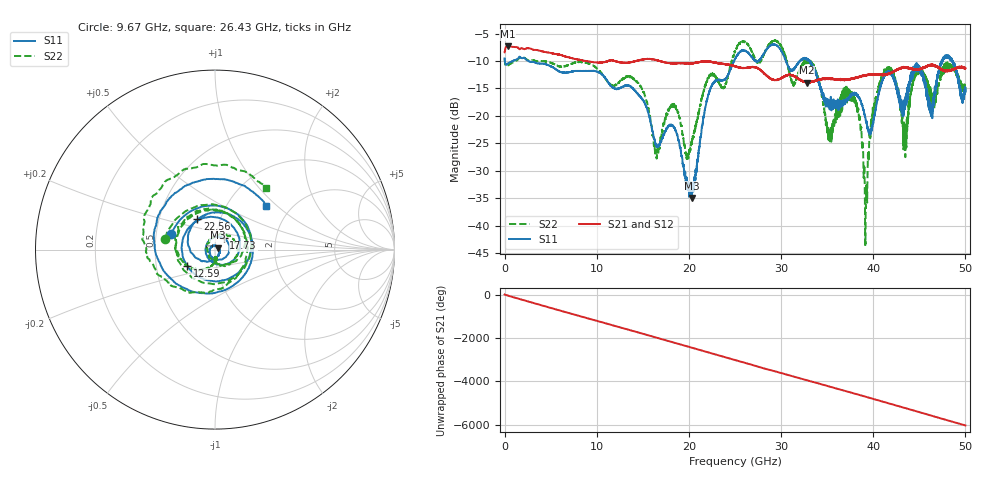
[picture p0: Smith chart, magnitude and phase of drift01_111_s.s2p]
!Created with skrf (http://scikit-rf.org).
# Hz S RI R 50.0
!freq ReS11 ImS11 ReS21 ImS21 ReS12 ImS12 ReS22 ImS22
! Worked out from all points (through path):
!   10001 points, 300 kHz to 50 GHz, reference 50 ohm
!   highest |S21| = -7.33 dB at 325.3 MHz (marker M1); lowest = -14.0 dB at 32.77 GHz (marker M2)
!   group delay of S21, straight-line fit = 335 ps
!   lowest |S11| = -34.9 dB at 20.33 GHz (marker M3), VSWR 1.04, Z = 51.5 + j1.06 ohm
!   |S11| at or under -10 dB: 2.553 GHz to 24.9 GHz (22.35 GHz wide, 163 % of centre); 30.53 GHz to 32.01 GHz (1.484 GHz wide, 4.74 % of centre); 33.07 GHz to 47.44 GHz (14.37 GHz wide, 35.7 % of centre) (the widest 3 of 22)
!   |S22| runs from -43.7 to -6.3 dB; largest |S21 - S12| = 0.011
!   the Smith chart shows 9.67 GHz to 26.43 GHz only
!   S11 on the Smith chart (normalised r, x): 9.67 GHz: 0.60, +0.11; 12.59 GHz: 0.72, -0.14; 17.73 GHz: 1.09, +0.14; 22.56 GHz: 0.78, +0.27; 26.43 GHz: 1.52, +0.85
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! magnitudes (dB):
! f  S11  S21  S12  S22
! 300 kHz  -9.5  -8.4  -8.5  -9.5
! 325.3 MHz  -10.5  -7.3  -7.3  -10.9
! 8.335 GHz  -11.8  -9.9  -9.9  -10.2
! 9.67 GHz  -11.8  -10.2  -10.2  -11.0
! 12.59 GHz  -14.9  -10.3  -10.3  -13.7
! 16.67 GHz  -25.7  -9.9  -9.9  -27.1
! 17.73 GHz  -21.9  -10.4  -10.4  -18.9
! 20.33 GHz  -34.9  -10.4  -10.4  -24.6
! 22.56 GHz  -14.2  -10.2  -10.2  -12.4
! 25 GHz  -9.6  -11.0  -11.0  -8.3
! 26.43 GHz  -8.5  -11.2  -11.2  -7.0
! 32.77 GHz  -9.7  -14.0  -13.8  -10.0
! 33.34 GHz  -10.7  -13.8  -13.8  -10.5
! 35.25 GHz  -17.3  -13.2  -13.3  -23.2
! 37.97 GHz  -15.8  -13.0  -13.0  -17.2
! 39.17 GHz  -20.5  -12.6  -12.6  -40.1
! 40.14 GHz  -19.9  -12.5  -12.5  -17.8
! 41.67 GHz  -12.0  -12.3  -12.3  -11.8
! 43.45 GHz  -17.9  -11.2  -11.2  -22.7
! 44.88 GHz  -11.1  -11.6  -11.5  -11.9
! 46.27 GHz  -20.0  -10.8  -10.7  -16.2
! 50 GHz  -15.4  -11.3  -11.3  -15.1
